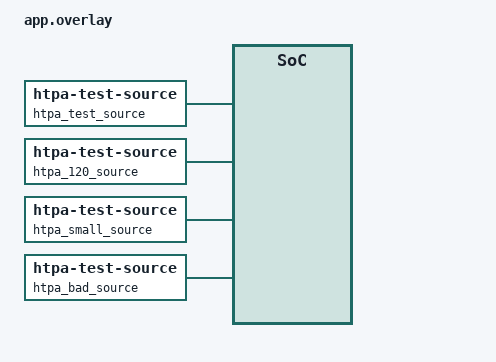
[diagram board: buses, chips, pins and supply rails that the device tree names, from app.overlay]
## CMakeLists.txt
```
# SPDX-FileCopyrightText: Copyright The Zephyr Project Contributors
# SPDX-License-Identifier: Apache-2.0

cmake_minimum_required(VERSION 3.20.0)
list(APPEND DTS_ROOT ${CMAKE_CURRENT_SOURCE_DIR})
find_package(Zephyr REQUIRED HINTS $ENV{ZEPHYR_BASE})
project(htpa_processor_test)

target_sources(app PRIVATE src/main.c)
```

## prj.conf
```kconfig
CONFIG_ZTEST=y
CONFIG_VIDEO=y
CONFIG_VIDEO_BUFFER_POOL_HEAP_SIZE=80000
CONFIG_VIDEO_BUFFER_POOL_NUM_MAX=2
```

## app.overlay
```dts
/*
 * SPDX-FileCopyrightText: Copyright The Zephyr Project Contributors
 * SPDX-License-Identifier: Apache-2.0
 */

/ {
	htpa_test_source: htpa-test-source {
		compatible = "zephyr,htpa-test-source";
	};

	htpa_test_processor: htpa-test-processor {
		compatible = "heimann,htpa-processor";
		source = <&htpa_test_source>;
	};

	htpa_120_source: htpa-120-source {
		compatible = "zephyr,htpa-test-source";
	};

	htpa_120_processor: htpa-120-processor {
		compatible = "heimann,htpa-processor";
		source = <&htpa_120_source>;
	};

	htpa_small_source: htpa-small-source {
		compatible = "zephyr,htpa-test-source";
	};

	htpa_small_processor: htpa-small-processor {
		compatible = "heimann,htpa-processor";
		source = <&htpa_small_source>;
	};

	htpa_bad_source: htpa-bad-source {
		compatible = "zephyr,htpa-test-source";
	};

	htpa_bad_processor: htpa-bad-processor {
		compatible = "heimann,htpa-processor";
		source = <&htpa_bad_source>;
	};
};
```

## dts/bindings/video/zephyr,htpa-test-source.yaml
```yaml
# SPDX-FileCopyrightText: Copyright The Zephyr Project Contributors
# SPDX-License-Identifier: Apache-2.0

description: Test HTPA frame source
compatible: "zephyr,htpa-test-source"
include: base.yaml
```

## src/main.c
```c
/*
 * SPDX-FileCopyrightText: Copyright The Zephyr Project Contributors
 * SPDX-License-Identifier: Apache-2.0
 */

#include <zephyr/device.h>
#include <zephyr/drivers/video.h>
#include <zephyr/drivers/video/htpa_sensor.h>
#include <zephyr/sys/byteorder.h>
#include <zephyr/video/video.h>
#include <zephyr/ztest.h>

#define BLOCK_SIZE 1606U
#define RAW_SIZE   (26U * BLOCK_SIZE)
#define OUT_SIZE   (160U * 120U * 2U)

struct source_data {
	struct k_fifo pending;
	struct k_fifo completed;
	bool streaming;
	uint32_t start_count;
	uint32_t stop_count;
	uint32_t fill_count;
	uint32_t fail_enqueue_countdown;
	struct k_sem started;
	bool hold;
	bool short_frame;
	bool fail_start;
	bool constant_frame;
	bool narrow_frame;
	bool extreme_frame;
};

struct source_config {
	const struct video_format_cap *caps;
	const struct video_htpa_raw_layout *layout;
	uint32_t raw_size;
};

static const struct video_htpa_raw_layout source_layout = {
	.block_count = 12U,
	.block_length = BLOCK_SIZE,
	.data_offset = 6U,
	.samples_per_block = 800U,
};

static const struct video_format_cap source_caps[] = {
	{
		.pixelformat = VIDEO_PIX_FMT_HTPA_RAW,
		.width_min = 160U,
		.width_max = 160U,
		.height_min = 120U,
		.height_max = 120U,
	},
	{0},
};

static const struct video_htpa_raw_layout layout_120 = VIDEO_HTPA_120X84_RAW_LAYOUT;
static const struct video_format_cap caps_120[] = {
	{
		.pixelformat = VIDEO_PIX_FMT_HTPA_RAW,
		.width_min = VIDEO_HTPA_120X84_WIDTH,
		.width_max = VIDEO_HTPA_120X84_WIDTH,
		.height_min = VIDEO_HTPA_120X84_HEIGHT,
		.height_max = VIDEO_HTPA_120X84_HEIGHT,
	},
	{0},
};

static const struct video_format_cap small_caps[] = {
	{
		.pixelformat = VIDEO_PIX_FMT_HTPA_RAW,
		.width_min = 4U,
		.width_max = 4U,
		.height_min = 4U,
		.height_max = 4U,
	},
	{0},
};

static int source_get_caps(const struct device *dev, struct video_caps *caps)
{
	const struct source_config *cfg = dev->config;

	caps->type = VIDEO_BUF_TYPE_OUTPUT;
	caps->format_caps = cfg->caps;
	caps->min_vbuf_count = 1U;
	caps->buf_align = 4U;
	return 0;
}

static int source_format(const struct device *dev, struct video_format *fmt)
{
	const struct source_config *cfg = dev->config;

	*fmt = (struct video_format) {
		.type = VIDEO_BUF_TYPE_OUTPUT,
		.pixelformat = VIDEO_PIX_FMT_HTPA_RAW,
		.width = cfg->caps[0].width_min,
		.height = cfg->caps[0].height_min,
		.size = cfg->raw_size,
	};
	return 0;
}

static void source_fill(const struct device *dev, struct video_buffer *buf)
{
	const struct source_config *cfg = dev->config;
	const struct video_htpa_raw_layout *layout = cfg->layout;
	struct source_data *data = dev->data;

	memset(buf->buffer, 0, cfg->raw_size);
	for (uint32_t half = 0U; half < 2U; half++) {
		for (uint32_t i = 0U; i < layout->samples_per_block; i++) {
			uint16_t offset = data->extreme_frame ?
				(i % 2U == 0U ? 0U : UINT16_MAX) :
				(uint16_t)(30000U + i % 31U + 20U);

			if (data->extreme_frame && i < 2U) {
				offset = i == 0U ? 32760U : 32780U;
			}

			sys_put_be16(offset,
				     buf->buffer + half * layout->block_length +
					     layout->data_offset + 2U * i);
			for (uint32_t block = 0U; block < layout->block_count; block++) {
				int16_t value = (int16_t)(block * layout->samples_per_block +
							  i - 4000);

				if (data->narrow_frame) {
					value = (int16_t)(i % 2U == 0U ? 0 : 100);
				}
				uint16_t sample = (uint16_t)((data->constant_frame ? 42 : value) +
							    (int32_t)offset);

				if (data->extreme_frame) {
					sample = i % 2U == 0U ? UINT16_MAX : 0U;
					if (i < 2U) {
						sample = i == 0U ? 32780U : 32760U;
					}
				}
				sys_put_be16(sample, buf->buffer +
					     (2U + half * layout->block_count + block) *
						     layout->block_length +
					     layout->data_offset + 2U * i);
			}
		}
	}
	data->fill_count++;
	buf->bytesused = data->short_frame ? cfg->raw_size - 1U : cfg->raw_size;
	buf->timestamp = 123U;
	k_fifo_put(&data->completed, buf);
}

static void source_run(const struct device *dev)
{
	struct source_data *data = dev->data;
	struct video_buffer *buf;

	if (!data->streaming || data->hold) {
		return;
	}
	while ((buf = k_fifo_get(&data->pending, K_NO_WAIT)) != NULL) {
		source_fill(dev, buf);
	}
}

static int source_enqueue(const struct device *dev, struct video_buffer *buf)
{
	struct source_data *data = dev->data;

	if (data->fail_enqueue_countdown > 0U) {
		data->fail_enqueue_countdown--;
		if (data->fail_enqueue_countdown == 0U) {
			return -EIO;
		}
	}
	k_fifo_put(&data->pending, buf);
	source_run(dev);
	return 0;
}

static int source_dequeue(const struct device *dev, struct video_buffer **buf, k_timeout_t timeout)
{
	struct source_data *data = dev->data;

	*buf = k_fifo_get(&data->completed, timeout);
	return *buf == NULL ? -EAGAIN : 0;
}

static int source_flush(const struct device *dev, bool cancel)
{
	struct source_data *data = dev->data;
	struct video_buffer *buf;

	ARG_UNUSED(cancel);
	while ((buf = k_fifo_get(&data->pending, K_NO_WAIT)) != NULL) {
		buf->bytesused = 0U;
		k_fifo_put(&data->completed, buf);
	}
	return 0;
}

static int source_stream(const struct device *dev, bool enable, enum video_buf_type type)
{
	struct source_data *data = dev->data;

	ARG_UNUSED(type);
	if (!enable) {
		data->streaming = false;
		data->stop_count++;
		return 0;
	}
	data->start_count++;
	k_sem_give(&data->started);
	if (data->fail_start) {
		return -EIO;
	}
	data->streaming = true;
	source_run(dev);
	return 0;
}

static int source_init(const struct device *dev)
{
	struct source_data *data = dev->data;

	k_fifo_init(&data->pending);
	k_fifo_init(&data->completed);
	k_sem_init(&data->started, 0, 1);
	return 0;
}

static int source_get_frmival(const struct device *dev, struct video_frmival *frmival)
{
	ARG_UNUSED(dev);
	*frmival = (struct video_frmival){.numerator = 1U, .denominator = 7U};
	return 0;
}

static int source_set_frmival(const struct device *dev, struct video_frmival *frmival)
{
	if (frmival->denominator == 0U ||
	    video_frmival_nsec(frmival) < NSEC_PER_SEC / 7U - 100U ||
	    video_frmival_nsec(frmival) > NSEC_PER_SEC / 7U + 100U) {
		return -ENOTSUP;
	}
	return source_get_frmival(dev, frmival);
}

static int source_enum_frmival(const struct device *dev, struct video_frmival_enum *fie)
{
	if (fie->index != 0U || fie->format->pixelformat != VIDEO_PIX_FMT_HTPA_RAW) {
		return -EINVAL;
	}
	fie->type = VIDEO_FRMIVAL_TYPE_DISCRETE;
	return source_get_frmival(dev, &fie->discrete);
}

static DEVICE_API(video, source_api) = {
	.get_format = source_format,
	.get_frmival = source_get_frmival,
	.set_frmival = source_set_frmival,
	.enum_frmival = source_enum_frmival,
	.get_caps = source_get_caps,
	.enqueue = source_enqueue,
	.dequeue = source_dequeue,
	.flush = source_flush,
	.set_stream = source_stream,
};
static struct source_data source_state;
static const struct source_config source_cfg = {
	.caps = source_caps, .layout = &source_layout, .raw_size = RAW_SIZE,
};
DEVICE_DT_DEFINE(DT_NODELABEL(htpa_test_source), source_init, NULL, &source_state, &source_cfg,
		 POST_KERNEL, CONFIG_VIDEO_INIT_PRIORITY, &source_api);
static struct source_data state_120;
static const struct source_config cfg_120 = {
	.caps = caps_120,
	.layout = &layout_120,
	.raw_size = 2U * (VIDEO_HTPA_120X84_BLOCK_COUNT + 1U) * VIDEO_HTPA_120X84_BLOCK_LENGTH,
};
DEVICE_DT_DEFINE(DT_NODELABEL(htpa_120_source), source_init, NULL, &state_120, &cfg_120,
		 POST_KERNEL, CONFIG_VIDEO_INIT_PRIORITY, &source_api);
static struct source_data small_state;
static const struct source_config small_cfg = {.caps = small_caps, .raw_size = 60U};
DEVICE_DT_DEFINE(DT_NODELABEL(htpa_small_source), source_init, NULL, &small_state, &small_cfg,
		 POST_KERNEL, CONFIG_VIDEO_INIT_PRIORITY, &source_api);
static struct source_data bad_state;
static const struct source_config bad_cfg = {.caps = source_caps, .raw_size = 60U};
DEVICE_DT_DEFINE(DT_NODELABEL(htpa_bad_source), source_init, NULL, &bad_state, &bad_cfg,
		 POST_KERNEL, CONFIG_VIDEO_INIT_PRIORITY, &source_api);

static const struct device *const processor = DEVICE_DT_GET(DT_NODELABEL(htpa_test_processor));

ZTEST(htpa_processor, test_frame_interval)
{
	struct video_format fmt = {.type = VIDEO_BUF_TYPE_OUTPUT};
	struct video_frmival_enum fie = {.format = &fmt};
	struct video_frmival interval = {.numerator = 1428571U, .denominator = 10000000U};

	zassert_ok(video_get_format(processor, &fmt));
	fmt.pixelformat = VIDEO_PIX_FMT_GREY;
	zassert_ok(video_enum_frmival(processor, &fie));
	zassert_equal(fie.type, VIDEO_FRMIVAL_TYPE_DISCRETE);
	zassert_equal(fie.discrete.numerator, 1U);
	zassert_equal(fie.discrete.denominator, 7U);
	fie.index = 1U;
	zassert_equal(video_enum_frmival(processor, &fie), -EINVAL);
	zassert_ok(video_set_frmival(processor, &interval));
	zassert_equal(interval.denominator, 7U);
	zassert_ok(video_get_frmival(processor, &interval));
	zassert_equal(interval.denominator, 7U);
	interval = (struct video_frmival){.numerator = 1U, .denominator = 30U};
	zassert_equal(video_set_frmival(processor, &interval), -ENOTSUP);
}

ZTEST(htpa_processor, test_unsupported_source)
{
	zassert_false(device_is_ready(DEVICE_DT_GET(DT_NODELABEL(htpa_small_processor))));
}

ZTEST(htpa_processor, test_invalid_raw_size)
{
	zassert_false(device_is_ready(DEVICE_DT_GET(DT_NODELABEL(htpa_bad_processor))));
}

ZTEST(htpa_processor, test_120x84_frame)
{
	const struct device *dev = DEVICE_DT_GET(DT_NODELABEL(htpa_120_processor));
	struct video_format fmt = {.type = VIDEO_BUF_TYPE_OUTPUT};
	struct video_caps caps = {.type = VIDEO_BUF_TYPE_OUTPUT};
	struct video_buffer *out = NULL;
	struct video_buffer *buf;

	zassert_true(device_is_ready(dev));
	zassert_ok(video_get_format(dev, &fmt));
	zassert_equal(fmt.width, 120U);
	zassert_equal(fmt.height, 84U);
	zassert_equal(fmt.size, 120U * 84U * 2U);
	zassert_ok(video_get_caps(dev, &caps));
	zassert_equal(caps.format_caps[0].width_min, fmt.width);
	zassert_equal(caps.format_caps[0].height_min, fmt.height);
	buf = video_buffer_alloc(fmt.size, K_NO_WAIT);
	zassert_not_null(buf);
	buf->type = VIDEO_BUF_TYPE_OUTPUT;
	zassert_ok(video_enqueue(dev, buf));
	zassert_ok(video_stream_start(dev, VIDEO_BUF_TYPE_OUTPUT));
	zassert_ok(video_dequeue(dev, &out, K_SECONDS(3)));
	zassert_equal_ptr(out, buf);
	zassert_equal(out->bytesused, fmt.size);
	for (uint32_t y = 0U; y < fmt.height; y++) {
		for (uint32_t x = 0U; x < fmt.width; x++) {
			uint32_t row = y < 42U ? y : 83U - y;
			int16_t actual;

			memcpy(&actual, out->buffer + 2U * (y * fmt.width + x), sizeof(actual));
			zassert_equal(actual, (int16_t)(row * fmt.width + x - 4000),
				      "x=%u y=%u", x, y);
		}
	}
	zassert_ok(video_stream_stop(dev, VIDEO_BUF_TYPE_OUTPUT));
	zassert_ok(video_buffer_release(buf));
}

ZTEST(htpa_processor, test_frame_and_format)
{
	struct video_format fmt = {.type = VIDEO_BUF_TYPE_OUTPUT};
	struct video_caps caps = {.type = VIDEO_BUF_TYPE_OUTPUT};
	struct video_buffer *buf;
	struct video_buffer *out = NULL;

	zassert_true(device_is_ready(processor));
	zassert_ok(video_get_format(processor, &fmt));
	zassert_equal(fmt.pixelformat, VIDEO_PIX_FMT_HTPA_S16);
	zassert_equal(fmt.pitch, fmt.width * sizeof(int16_t));
	zassert_equal(fmt.size, OUT_SIZE);
	zassert_ok(video_get_caps(processor, &caps));
	zassert_equal(caps.format_caps[0].width_min, fmt.width);
	zassert_equal(caps.format_caps[0].height_min, fmt.height);
	zassert_equal(caps.format_caps[0].pixelformat, VIDEO_PIX_FMT_GREY);
	zassert_equal(caps.format_caps[1].pixelformat, VIDEO_PIX_FMT_HTPA_S16);
	zassert_ok(video_set_format(processor, &fmt));
	zassert_equal(fmt.pitch, fmt.width * sizeof(int16_t));
	buf = video_buffer_alloc(fmt.size, K_NO_WAIT);
	zassert_not_null(buf);
	buf->type = VIDEO_BUF_TYPE_OUTPUT;
	zassert_ok(video_enqueue(processor, buf));
	zassert_ok(video_stream_start(processor, VIDEO_BUF_TYPE_OUTPUT));
	zassert_ok(video_dequeue(processor, &out, K_SECONDS(3)));
	zassert_equal_ptr(out, buf);
	zassert_equal(out->bytesused, OUT_SIZE);
	zassert_equal(out->timestamp, 123U);
	for (uint32_t y = 0U; y < 120U; y++) {
		for (uint32_t x = 0U; x < 160U; x++) {
			uint32_t row = y < 60U ? y : 119U - y;
			int16_t expected = (int16_t)(row * 160U + x - 4000);
			int16_t actual;

			memcpy(&actual, out->buffer + 2U * (y * 160U + x), sizeof(actual));
			zassert_equal(actual, expected, "x=%u y=%u", x, y);
		}
	}
	zassert_ok(video_stream_stop(processor, VIDEO_BUF_TYPE_OUTPUT));
	zassert_ok(video_buffer_release(buf));
}

ZTEST(htpa_processor, test_compensation_saturates)
{
	struct video_format fmt = {.type = VIDEO_BUF_TYPE_OUTPUT};
	struct video_buffer *out = NULL;
	struct video_buffer *buf;
	int16_t actual;

	zassert_ok(video_get_format(processor, &fmt));
	fmt.pixelformat = VIDEO_PIX_FMT_HTPA_S16;
	zassert_ok(video_set_format(processor, &fmt));
	buf = video_buffer_alloc(fmt.size, K_NO_WAIT);
	zassert_not_null(buf);
	buf->type = VIDEO_BUF_TYPE_OUTPUT;
	source_state.extreme_frame = true;
	zassert_ok(video_enqueue(processor, buf));
	zassert_ok(video_stream_start(processor, VIDEO_BUF_TYPE_OUTPUT));
	zassert_ok(video_dequeue(processor, &out, K_SECONDS(3)));
	memcpy(&actual, out->buffer, sizeof(actual));
	zassert_equal(actual, 20);
	memcpy(&actual, out->buffer + sizeof(actual), sizeof(actual));
	zassert_equal(actual, -20);
	memcpy(&actual, out->buffer + 2U * sizeof(actual), sizeof(actual));
	zassert_equal(actual, INT16_MAX);
	memcpy(&actual, out->buffer + 3U * sizeof(actual), sizeof(actual));
	zassert_equal(actual, INT16_MIN);
	zassert_ok(video_stream_stop(processor, VIDEO_BUF_TYPE_OUTPUT));
	source_state.extreme_frame = false;
	zassert_ok(video_buffer_release(buf));
}

ZTEST(htpa_processor, test_grey_histogram)
{
	struct video_format fmt = {.type = VIDEO_BUF_TYPE_OUTPUT};
	struct video_caps caps = {.type = VIDEO_BUF_TYPE_OUTPUT};
	struct video_buffer *out = NULL;
	struct video_buffer *buf;

	zassert_ok(video_get_format(processor, &fmt));
	zassert_ok(video_get_caps(processor, &caps));
	zassert_equal(caps.format_caps[0].pixelformat, VIDEO_PIX_FMT_GREY);
	fmt.pixelformat = VIDEO_PIX_FMT_GREY;
	zassert_ok(video_set_format(processor, &fmt));
	zassert_equal(fmt.pitch, fmt.width);
	zassert_ok(video_get_format(processor, &fmt));
	zassert_equal(fmt.pitch, fmt.width);
	zassert_equal(fmt.size, 160U * 120U);
	buf = video_buffer_alloc(fmt.size, K_NO_WAIT);
	zassert_not_null(buf);
	buf->type = VIDEO_BUF_TYPE_OUTPUT;
	zassert_ok(video_enqueue(processor, buf));
	zassert_ok(video_stream_start(processor, VIDEO_BUF_TYPE_OUTPUT));
	zassert_equal(video_set_format(processor, &fmt), -EBUSY);
	zassert_ok(video_dequeue(processor, &out, K_SECONDS(3)));
	zassert_equal(out->bytesused, fmt.size);
	zassert_equal(out->timestamp, 123U);
	/* The retained range is samples 76 through 9523 after percentile clipping. */
	zassert_equal(out->buffer[0], 0U);
	zassert_equal(out->buffer[159], 2U);
	zassert_equal(out->buffer[30U * 160U], 127U);
	zassert_equal(out->buffer[59U * 160U + 159U], 255U);
	zassert_equal(out->buffer[119U * 160U + 159U], 2U);

	zassert_ok(video_stream_stop(processor, VIDEO_BUF_TYPE_OUTPUT));
	source_state.constant_frame = true;
	zassert_ok(video_enqueue(processor, buf));
	zassert_ok(video_stream_start(processor, VIDEO_BUF_TYPE_OUTPUT));
	zassert_ok(video_dequeue(processor, &out, K_SECONDS(3)));
	for (uint32_t i = 0U; i < fmt.size; i++) {
		zassert_equal(out->buffer[i], 127U);
	}
	source_state.constant_frame = false;
	zassert_ok(video_stream_stop(processor, VIDEO_BUF_TYPE_OUTPUT));
	source_state.narrow_frame = true;
	zassert_ok(video_enqueue(processor, buf));
	zassert_ok(video_stream_start(processor, VIDEO_BUF_TYPE_OUTPUT));
	zassert_ok(video_dequeue(processor, &out, K_SECONDS(3)));
	zassert_equal(out->buffer[0], (uint8_t)(127.5f - 12750.0f /
						 CONFIG_VIDEO_HTPA_PROCESSOR_MIN_GREY_RANGE));
	zassert_equal(out->buffer[1], (uint8_t)(127.5f + 12750.0f /
						 CONFIG_VIDEO_HTPA_PROCESSOR_MIN_GREY_RANGE));
	source_state.narrow_frame = false;
	zassert_ok(video_stream_stop(processor, VIDEO_BUF_TYPE_OUTPUT));
	zassert_ok(video_buffer_release(buf));
	fmt.pixelformat = VIDEO_PIX_FMT_HTPA_S16;
	zassert_ok(video_set_format(processor, &fmt));
}

ZTEST(htpa_processor, test_continuous_source)
{
	struct video_buffer *buf = video_buffer_alloc(OUT_SIZE, K_NO_WAIT);
	struct video_buffer *out = NULL;
	uint32_t starts = source_state.start_count;
	uint32_t stops = source_state.stop_count;
	uint32_t fills = source_state.fill_count;

	zassert_not_null(buf);
	buf->type = VIDEO_BUF_TYPE_OUTPUT;
	zassert_ok(video_enqueue(processor, buf));
	zassert_ok(video_stream_start(processor, VIDEO_BUF_TYPE_OUTPUT));
	for (uint32_t i = 0U; i < 3U; i++) {
		zassert_ok(video_dequeue(processor, &out, K_SECONDS(3)));
		zassert_equal_ptr(out, buf);
		zassert_equal(out->bytesused, OUT_SIZE);
		if (i < 2U) {
			zassert_ok(video_enqueue(processor, buf));
		}
	}
	zassert_equal(source_state.start_count, starts + 1U);
	zassert_equal(source_state.stop_count, stops);
	zassert_true(source_state.fill_count >=
		     fills + CONFIG_VIDEO_HTPA_PROCESSOR_RAW_BUFFER_COUNT + 3U);
	zassert_ok(video_stream_stop(processor, VIDEO_BUF_TYPE_OUTPUT));
	zassert_equal(source_state.stop_count, stops + 1U);
	zassert_true(k_fifo_is_empty(&source_state.pending));
	zassert_true(k_fifo_is_empty(&source_state.completed));
	zassert_ok(video_buffer_release(buf));
}

ZTEST(htpa_processor, test_cancel_and_restart)
{
	struct video_buffer *buf = video_buffer_alloc(OUT_SIZE, K_NO_WAIT);
	struct video_buffer *out = NULL;

	zassert_not_null(buf);
	buf->type = VIDEO_BUF_TYPE_OUTPUT;
	k_sem_reset(&source_state.started);
	source_state.hold = true;
	zassert_ok(video_enqueue(processor, buf));
	zassert_ok(video_stream_start(processor, VIDEO_BUF_TYPE_OUTPUT));
	zassert_ok(k_sem_take(&source_state.started, K_SECONDS(3)));
	zassert_ok(video_stream_stop(processor, VIDEO_BUF_TYPE_OUTPUT));
	zassert_ok(video_dequeue(processor, &out, K_SECONDS(3)));
	zassert_equal_ptr(out, buf);
	zassert_equal(out->bytesused, 0U);
	source_state.hold = false;
	zassert_ok(video_enqueue(processor, buf));
	zassert_ok(video_stream_start(processor, VIDEO_BUF_TYPE_OUTPUT));
	zassert_ok(video_dequeue(processor, &out, K_SECONDS(3)));
	zassert_equal(out->bytesused, OUT_SIZE);
	zassert_ok(video_stream_stop(processor, VIDEO_BUF_TYPE_OUTPUT));
	zassert_ok(video_buffer_release(buf));
}

ZTEST(htpa_processor, test_partial_source_enqueue_failure)
{
	struct video_buffer *buf = video_buffer_alloc(OUT_SIZE, K_NO_WAIT);
	struct video_buffer *out = NULL;

	zassert_not_null(buf);
	buf->type = VIDEO_BUF_TYPE_OUTPUT;
	source_state.fail_enqueue_countdown = CONFIG_VIDEO_HTPA_PROCESSOR_RAW_BUFFER_COUNT;
	zassert_ok(video_enqueue(processor, buf));
	zassert_ok(video_stream_start(processor, VIDEO_BUF_TYPE_OUTPUT));
	zassert_ok(video_dequeue(processor, &out, K_SECONDS(3)));
	zassert_equal(out->bytesused, 0U);
	zassert_true(k_fifo_is_empty(&source_state.pending));
	zassert_true(k_fifo_is_empty(&source_state.completed));
	zassert_ok(video_enqueue(processor, buf));
	zassert_ok(video_dequeue(processor, &out, K_SECONDS(3)));
	zassert_equal(out->bytesused, OUT_SIZE);
	zassert_ok(video_stream_stop(processor, VIDEO_BUF_TYPE_OUTPUT));
	zassert_ok(video_buffer_release(buf));
}

ZTEST(htpa_processor, test_short_frame)
{
	struct video_buffer *buf = video_buffer_alloc(OUT_SIZE, K_NO_WAIT);
	struct video_buffer *out = NULL;

	zassert_not_null(buf);
	buf->type = VIDEO_BUF_TYPE_OUTPUT;
	source_state.short_frame = true;
	zassert_ok(video_enqueue(processor, buf));
	zassert_ok(video_stream_start(processor, VIDEO_BUF_TYPE_OUTPUT));
	zassert_ok(video_dequeue(processor, &out, K_SECONDS(3)));
	zassert_equal(out->bytesused, 0U);
	zassert_ok(video_stream_stop(processor, VIDEO_BUF_TYPE_OUTPUT));
	source_state.short_frame = false;
	zassert_ok(video_buffer_release(buf));
}

ZTEST(htpa_processor, test_flush_and_start_failure)
{
	struct video_buffer *first = video_buffer_alloc(OUT_SIZE, K_NO_WAIT);
	struct video_buffer *second = video_buffer_alloc(OUT_SIZE, K_NO_WAIT);
	struct video_buffer *out = NULL;

	zassert_not_null(first);
	zassert_not_null(second);
	first->type = VIDEO_BUF_TYPE_OUTPUT;
	second->type = VIDEO_BUF_TYPE_OUTPUT;
	zassert_ok(video_enqueue(processor, first));
	zassert_ok(video_enqueue(processor, second));
	zassert_ok(video_driver_flush(processor, false));
	zassert_ok(video_dequeue(processor, &out, K_SECONDS(3)));
	zassert_equal_ptr(out, first);
	zassert_equal(out->bytesused, OUT_SIZE);
	zassert_ok(video_dequeue(processor, &out, K_SECONDS(3)));
	zassert_equal_ptr(out, second);
	zassert_equal(out->bytesused, OUT_SIZE);

	source_state.fail_start = true;
	zassert_ok(video_enqueue(processor, first));
	zassert_ok(video_stream_start(processor, VIDEO_BUF_TYPE_OUTPUT));
	zassert_ok(video_dequeue(processor, &out, K_SECONDS(3)));
	zassert_equal_ptr(out, first);
	zassert_equal(out->bytesused, 0U);
	source_state.fail_start = false;
	zassert_ok(video_enqueue(processor, first));
	zassert_ok(video_dequeue(processor, &out, K_SECONDS(3)));
	zassert_equal(out->bytesused, OUT_SIZE);
	zassert_ok(video_stream_stop(processor, VIDEO_BUF_TYPE_OUTPUT));
	zassert_ok(video_buffer_release(first));
	zassert_ok(video_buffer_release(second));
}

ZTEST_SUITE(htpa_processor, NULL, NULL, NULL, NULL, NULL);
```
